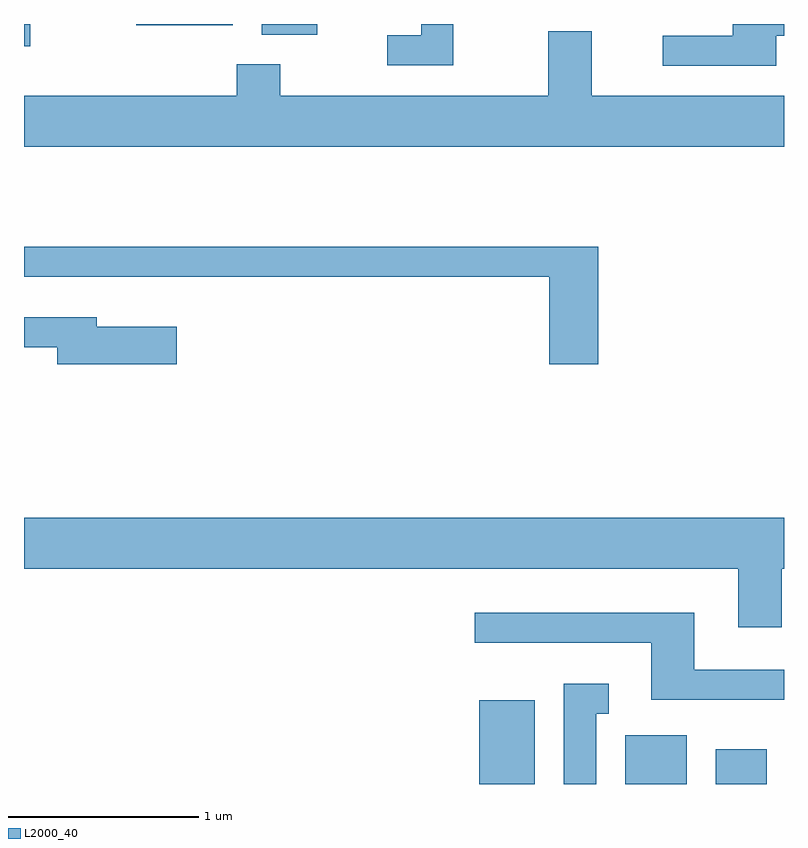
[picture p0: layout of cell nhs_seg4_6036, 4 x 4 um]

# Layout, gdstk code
import gdstk
lib = gdstk.Library(unit=1e-6, precision=1e-09)
def R(c, l, rs):  # rectangles x0, y0, x1, y1
    for r in rs: c.add(gdstk.rectangle(r[:2], r[2:], *l))
def P(c, l, *ps):  # polygons
    for p in ps: c.add(gdstk.Polygon(p, *l))
L2000_40 = (2000, 40)

nhs_seg4_6036 = lib.new_cell('nhs_seg4_6036')
R(nhs_seg4_6036, L2000_40, [(364.006,1357.982,364.299,1358.424), (364.776,1357.982,365.099,1358.239), (365.251,1357.982,365.519,1358.164), (361.611,1361.866,361.644,1361.982), (362.861,1361.926,363.154,1361.982), (362.203,1361.976,362.709,1361.982)])
P(nhs_seg4_6036, L2000_40, [(365.569,1361.921),(365.611,1361.921),(365.611,1361.982),(365.341,1361.982),(365.341,1361.919),(364.973,1361.919),(364.973,1361.761),(365.569,1361.761)],
  [(363.869,1361.982),(363.701,1361.982),(363.701,1361.924),(363.523,1361.924),(363.523,1361.766),(363.869,1361.766)],
  [(365.611,1361.604),(364.599,1361.604),(364.599,1361.944),(364.371,1361.944),(364.371,1361.604),(362.959,1361.604),(362.959,1361.769),(362.731,1361.769),(362.731,1361.604),(361.611,1361.604),(361.611,1361.336),(365.611,1361.336)],
  [(364.634,1360.809),(361.611,1360.809),(361.611,1360.651),(364.376,1360.651),(364.376,1360.191),(364.634,1360.191)],
  [(362.414,1360.389),(361.994,1360.389),(361.994,1360.439),(361.611,1360.439),(361.611,1360.281),(361.786,1360.281),(361.786,1360.191),(362.414,1360.191)],
  [(365.599,1359.116),(365.611,1359.116),(365.611,1359.384),(361.611,1359.384),(361.611,1359.116),(365.371,1359.116),(365.371,1358.806),(365.599,1358.806)],
  [(365.611,1358.584),(365.139,1358.584),(365.139,1358.884),(363.983,1358.884),(363.983,1358.726),(364.911,1358.726),(364.911,1358.426),(365.611,1358.426)],
  [(364.624,1358.351),(364.688,1358.351),(364.688,1358.509),(364.451,1358.509),(364.451,1357.982),(364.624,1357.982)])

lib.write_gds('nhs_seg4_6036.gds')
